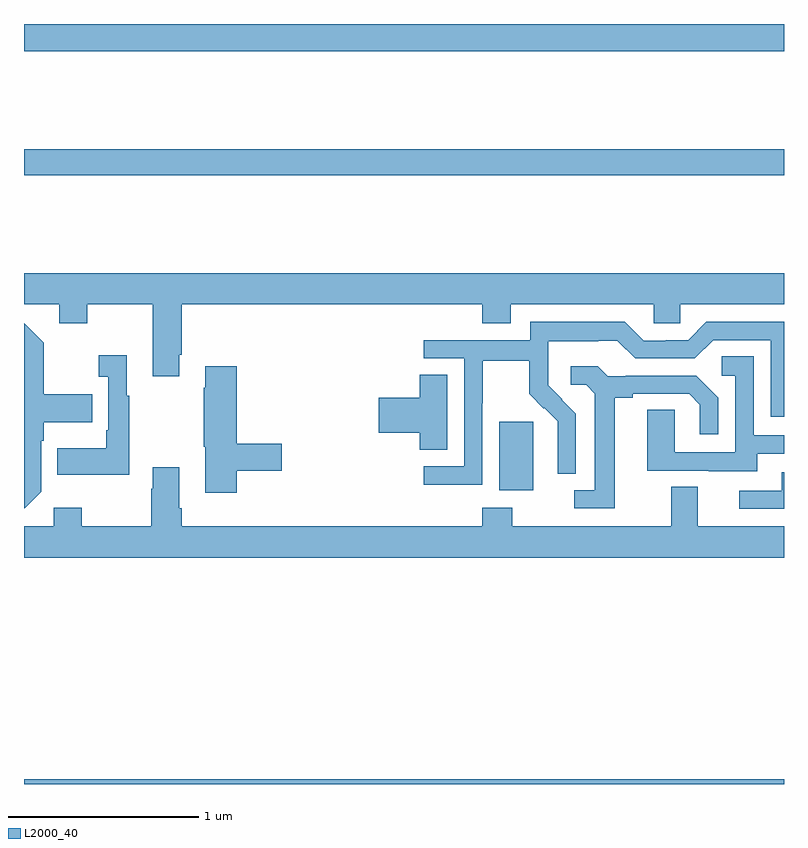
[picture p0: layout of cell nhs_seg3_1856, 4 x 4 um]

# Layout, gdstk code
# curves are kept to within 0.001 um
import gdstk
lib = gdstk.Library(unit=1e-6, precision=1e-09)
def R(c, l, rs):  # rectangles x0, y0, x1, y1
    for r in rs: c.add(gdstk.rectangle(r[:2], r[2:], *l))
def P(c, l, *ps):  # polygons
    for p in ps: c.add(gdstk.Polygon(p, *l))
L2000_40 = (2000, 40)

nhs_seg3_1856 = lib.new_cell('nhs_seg3_1856')
R(nhs_seg3_1856, L2000_40, [(207,690.4,211,690.424), (209.501,691.946,209.68,692.307), (207,693.604,211,693.74), (207,694.256,211,694.4)])
P(nhs_seg3_1856, L2000_40, [(207.817,692.659),(207.83,692.659),(207.83,692.924),(209.411,692.924),(209.411,692.825),(209.563,692.825),(209.563,692.924),(210.315,692.924),(210.315,692.826),(210.453,692.826),(210.453,692.924),(211,692.924),(211,693.088),(207,693.088),(207,692.924),(207.185,692.924),(207.185,692.825),(207.333,692.825),(207.333,692.924),(207.677,692.924),(207.677,692.547),(207.817,692.547)],
  [(209.412,692.404),(209.415,692.404),(209.415,692.628),(209.659,692.628),(209.659,692.453),(209.736,692.376),(209.739,692.379),(209.81,692.309),(209.81,692.186),(209.808,692.186),(209.808,692.032),(209.904,692.032),(209.904,692.35),(209.758,692.498),(209.758,692.595),(209.76,692.595),(209.76,692.729),(210.023,692.729),(210.023,692.733),(210.123,692.733),(210.216,692.64),(210.531,692.64),(210.627,692.736),(210.93,692.736),(210.93,692.334),(211,692.334),(211,692.832),(210.591,692.832),(210.495,692.736),(210.377,692.736),(210.377,692.733),(210.261,692.733),(210.161,692.833),(209.664,692.833),(209.664,692.736),(209.103,692.736),(209.103,692.64),(209.316,692.64),(209.316,692.073),(209.103,692.073),(209.103,691.975),(209.412,691.975)],
  [(207.09,691.938),(207.09,692.207),(207.103,692.207),(207.103,692.303),(207.359,692.303),(207.359,692.451),(207.103,692.451),(207.103,692.723),(207,692.826),(207,691.851),(207.003,691.851)],
  [(207.553,692.443),(207.541,692.443),(207.541,692.656),(207.393,692.656),(207.393,692.543),(207.444,692.543),(207.444,692.263),(207.432,692.263),(207.432,692.167),(207.175,692.167),(207.175,692.027),(207.553,692.027)],
  [(210.859,692.139),(211,692.139),(211,692.235),(210.84,692.235),(210.84,692.651),(210.672,692.651),(210.672,692.55),(210.744,692.55),(210.744,692.145),(210.426,692.145),(210.426,692.369),(210.281,692.369),(210.281,692.049),(210.605,692.049),(210.605,692.045),(210.859,692.045)],
  [(208.121,692.05),(208.357,692.05),(208.357,692.192),(208.121,692.192),(208.121,692.599),(207.953,692.599),(207.953,692.486),(207.946,692.486),(207.946,692.175),(207.953,692.175),(207.953,691.932),(208.121,691.932)],
  [(210.109,692.432),(210.205,692.432),(210.205,692.454),(210.5,692.454),(210.557,692.397),(210.557,692.241),(210.654,692.241),(210.654,692.434),(210.538,692.55),(210.166,692.55),(210.166,692.547),(210.072,692.547),(210.02,692.599),(209.877,692.599),(209.877,692.502),(209.958,692.502),(210.005,692.455),(210.005,691.947),(209.895,691.947),(209.895,691.851),(210.109,691.851)],
  [(209.227,692.555),(209.084,692.555),(209.084,692.432),(208.866,692.432),(208.866,692.249),(209.084,692.249),(209.084,692.158),(209.227,692.158)],
  [(211,691.756),(210.547,691.756),(210.547,691.964),(210.407,691.964),(210.407,691.756),(209.571,691.756),(209.571,691.855),(209.411,691.855),(209.411,691.756),(207.83,691.756),(207.83,691.852),(207.817,691.852),(207.817,692.068),(207.677,692.068),(207.677,691.955),(207.67,691.955),(207.67,691.756),(207.303,691.756),(207.303,691.855),(207.156,691.855),(207.156,691.756),(207,691.756),(207,691.592),(211,691.592)],
  [(211,692.04),(210.989,692.04),(210.989,691.944),(210.765,691.944),(210.765,691.848),(211,691.848)])

lib.write_gds('nhs_seg3_1856.gds')
